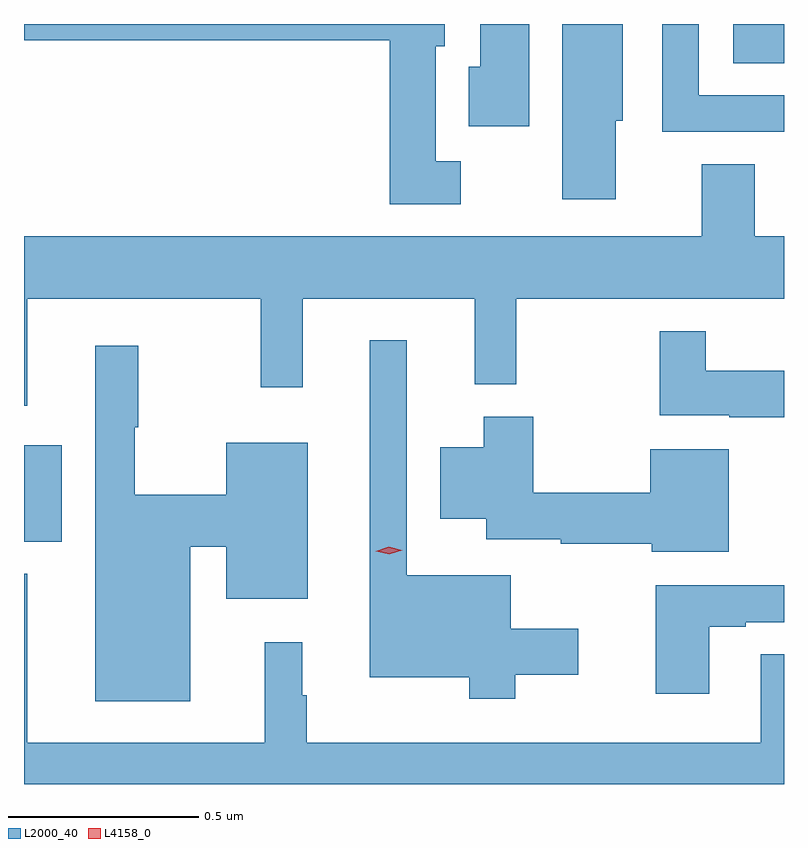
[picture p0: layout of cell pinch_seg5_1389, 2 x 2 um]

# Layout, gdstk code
import gdstk
lib = gdstk.Library(unit=1e-6, precision=1e-09)
def R(c, l, rs):  # rectangles x0, y0, x1, y1
    for r in rs: c.add(gdstk.rectangle(r[:2], r[2:], *l))
def P(c, l, *ps):  # polygons
    for p in ps: c.add(gdstk.Polygon(p, *l))
L2000_40 = (2000, 40)
L4158_0 = (4158, 0)

pinch_seg5_1389 = lib.new_cell('pinch_seg5_1389')
R(pinch_seg5_1389, L2000_40, [(249.628,885.425,249.727,885.679), (251.495,886.684,251.628,886.787)])
P(pinch_seg5_1389, L2000_40, [(250.777,886.426),(250.711,886.426),(250.711,886.728),(250.735,886.728),(250.735,886.787),(249.628,886.787),(249.628,886.744),(250.59,886.744),(250.59,886.313),(250.777,886.313)],
  [(251.185,886.533),(251.203,886.533),(251.203,886.787),(251.045,886.787),(251.045,886.326),(251.185,886.326)],
  [(251.628,886.599),(251.403,886.599),(251.403,886.787),(251.307,886.787),(251.307,886.503),(251.628,886.503)],
  [(250.957,886.787),(250.829,886.787),(250.829,886.674),(250.799,886.674),(250.799,886.518),(250.957,886.518)],
  [(249.637,886.064),(250.251,886.064),(250.251,885.831),(250.361,885.831),(250.361,886.064),(250.814,886.064),(250.814,885.839),(250.924,885.839),(250.924,886.064),(251.628,886.064),(251.628,886.228),(251.551,886.228),(251.551,886.418),(251.411,886.418),(251.411,886.228),(249.628,886.228),(249.628,885.783),(249.637,885.783)],
  [(251.628,885.874),(251.422,885.874),(251.422,885.979),(251.301,885.979),(251.301,885.758),(251.484,885.758),(251.484,885.752),(251.628,885.752)],
  [(250.921,885.074),(251.086,885.074),(251.086,885.196),(250.909,885.196),(250.909,885.337),(250.635,885.337),(250.635,885.955),(250.538,885.955),(250.538,885.068),(250.8,885.068),(250.8,885.011),(250.921,885.011)],
  [(250.066,885.412),(250.16,885.412),(250.16,885.275),(250.375,885.275),(250.375,885.685),(250.16,885.685),(250.16,885.548),(249.919,885.548),(249.919,885.726),(249.929,885.726),(249.929,885.94),(249.815,885.94),(249.815,885.005),(250.066,885.005)],
  [(251.482,885.668),(251.276,885.668),(251.276,885.554),(250.968,885.554),(250.968,885.754),(250.838,885.754),(250.838,885.673),(250.724,885.673),(250.724,885.485),(250.844,885.485),(250.844,885.431),(251.04,885.431),(251.04,885.419),(251.28,885.419),(251.28,885.398),(251.482,885.398)],
  [(251.628,885.128),(251.567,885.128),(251.567,884.896),(250.372,884.896),(250.372,885.02),(250.36,885.02),(250.36,885.16),(250.262,885.16),(250.262,884.896),(249.637,884.896),(249.637,885.34),(249.628,885.34),(249.628,884.787),(251.628,884.787)],
  [(251.431,885.201),(251.527,885.201),(251.527,885.213),(251.628,885.213),(251.628,885.31),(251.291,885.31),(251.291,885.024),(251.431,885.024)])
P(pinch_seg5_1389, L4158_0, [(250.589,885.391),(250.553,885.399),(250.553,885.399),(250.553,885.4),(250.588,885.411),(250.624,885.402),(250.624,885.402),(250.624,885.402)])

lib.write_gds('pinch_seg5_1389.gds')
